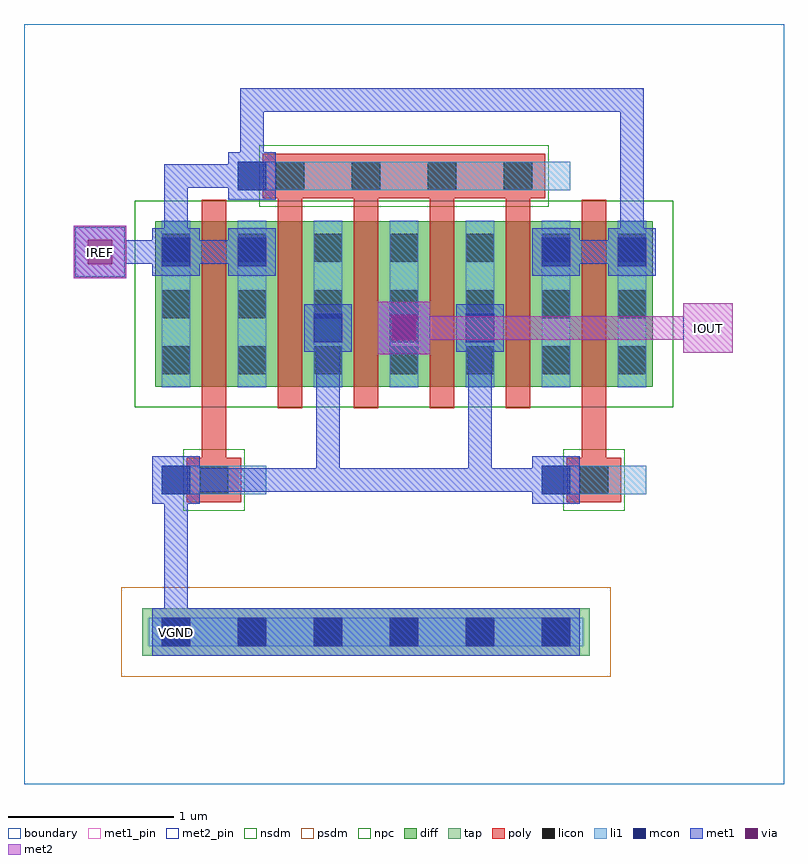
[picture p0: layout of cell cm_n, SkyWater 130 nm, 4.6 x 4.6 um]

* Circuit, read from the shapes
.subckt cm_n IOUT IREF VGND
XM1 IREF VGND IREF VGND sky130_fd_pr__nfet_01v8 w=1 l=0.15 m=2
XM2 VGND IREF IREF VGND sky130_fd_pr__nfet_01v8 w=1 l=0.15 m=2
XM3 IOUT IREF VGND VGND sky130_fd_pr__nfet_01v8 w=1 l=0.15 m=2
.ends

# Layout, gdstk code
import gdstk
lib = gdstk.Library(unit=1e-6, precision=1e-09)
def R(c, l, rs):  # rectangles x0, y0, x1, y1
    for r in rs: c.add(gdstk.rectangle(r[:2], r[2:], *l))
def A(c, l, x, y, w, h, nx, ny, dx, dy):  # array of equal rectangles
    R(c, l, [(x+i*dx, y+j*dy, x+i*dx+w, y+j*dy+h) for i in range(nx) for j in range(ny)])
diff = (65, 20)
tap = (65, 44)
poly = (66, 20)
licon = (66, 44)
li1 = (67, 20)
mcon = (67, 44)
met1_pin = (68, 16)
met1 = (68, 20)
via = (68, 44)
met2_pin = (69, 16)
met2 = (69, 20)
nsdm = (93, 44)
psdm = (94, 20)
npc = (95, 20)
boundary = (235, 4)

cm_n = lib.new_cell('cm_n')
R(cm_n, diff, [(0.795,2.405,3.805,3.405)])
R(cm_n, tap, [(0.715,0.775,3.425,1.065)])
A(cm_n, poly, 1.535, 2.275, 0.15, 1.405, 4, 1, 0.46, 0)
R(cm_n, poly, [(0.985,1.705,1.315,1.975), (3.285,1.705,3.615,1.975), (1.075,1.84,1.225,3.535), (3.375,1.84,3.525,3.535), (1.445,3.545,3.155,3.815)])
A(cm_n, licon, 0.835, 0.835, 0.17, 0.17, 6, 1, 0.46, 0)
A(cm_n, licon, 0.835, 2.48, 0.17, 0.17, 7, 3, 0.46, 0.34)
A(cm_n, licon, 1.525, 3.595, 0.17, 0.17, 4, 1, 0.46, 0)
R(cm_n, licon, [(1.065,1.755,1.235,1.925), (3.365,1.755,3.535,1.925)])
A(cm_n, li1, 0.835, 2.4, 0.17, 1.01, 7, 1, 0.46, 0)
R(cm_n, li1, [(0.755,0.835,3.385,1.005), (0.835,1.755,1.465,1.925), (3.135,1.755,3.765,1.925), (1.295,3.595,3.305,3.765)])
A(cm_n, mcon, 0.835, 0.835, 0.17, 0.17, 6, 1, 0.46, 0)
A(cm_n, mcon, 1.755, 2.675, 0.17, 0.17, 3, 1, 0.46, 0)
R(cm_n, mcon, [(0.835,1.755,1.005,1.925), (3.135,1.755,3.305,1.925), (0.835,3.135,1.005,3.305), (1.295,3.135,1.465,3.305), (3.135,3.135,3.305,3.305), (3.595,3.135,3.765,3.305), (1.295,3.595,1.465,3.765)])
R(cm_n, met1_pin, [(0.85,0.85,0.99,0.99)])
A(cm_n, met1, 1.695, 2.615, 0.29, 0.29, 3, 1, 0.46, 0)
R(cm_n, met1, [(0.775,0.775,3.365,1.065), (0.85,0.85,0.99,1.91), (0.85,0.85,0.99,0.99), (0.775,1.695,1.065,1.985), (3.075,1.695,3.365,1.985), (0.85,1.77,1.91,1.91), (1.77,1.77,1.91,2.83), (1.77,1.77,3.29,1.91), (2.69,1.77,2.83,2.83), (2.14,2.6,2.46,2.92), (0.3,3.06,0.62,3.38), (0.775,3.075,1.065,3.365), (1.235,3.075,1.525,3.365), (3.075,3.075,3.365,3.365), (3.535,3.075,3.825,3.365), (0.39,3.15,0.99,3.29), (0.85,3.15,0.99,3.75), (0.85,3.15,1.45,3.29), (3.15,3.15,3.75,3.29), (3.61,3.15,3.75,4.21), (1.235,3.535,1.525,3.825), (0.85,3.61,1.45,3.75), (1.31,3.61,1.45,4.21), (1.31,4.07,3.75,4.21)])
R(cm_n, via, [(2.225,2.685,2.375,2.835), (0.385,3.145,0.535,3.295)])
R(cm_n, met2_pin, [(3.99,2.61,4.29,2.91), (0.31,3.07,0.61,3.37)])
R(cm_n, met2, [(2.14,2.6,2.46,2.92), (3.99,2.61,4.29,2.91), (2.23,2.69,4.21,2.83), (4.07,2.69,4.21,2.83), (0.3,3.06,0.62,3.38), (0.31,3.07,0.61,3.37), (0.39,3.15,0.53,3.29)])
R(cm_n, nsdm, [(0.67,2.28,3.93,3.53)])
R(cm_n, psdm, [(0.59,0.65,3.55,1.19)])
R(cm_n, npc, [(0.965,1.655,1.335,2.025), (3.265,1.655,3.635,2.025), (1.425,3.495,3.175,3.865)])
R(cm_n, boundary, [(0,0,4.6,4.6)])
cm_n.add(gdstk.Label('VGND', (0.92,0.92), layer=68, texttype=5))
cm_n.add(gdstk.Label('IREF', (0.46,3.22), layer=69, texttype=5))
cm_n.add(gdstk.Label('IOUT', (4.14,2.76), layer=69, texttype=5))
cm_n.add(gdstk.Label('VGND', (0.92,0.92), layer=68, texttype=16))
cm_n.add(gdstk.Label('IREF', (0.46,3.22), layer=69, texttype=16))
cm_n.add(gdstk.Label('IOUT', (4.14,2.76), layer=69, texttype=16))

lib.write_gds('cm_n.gds')
